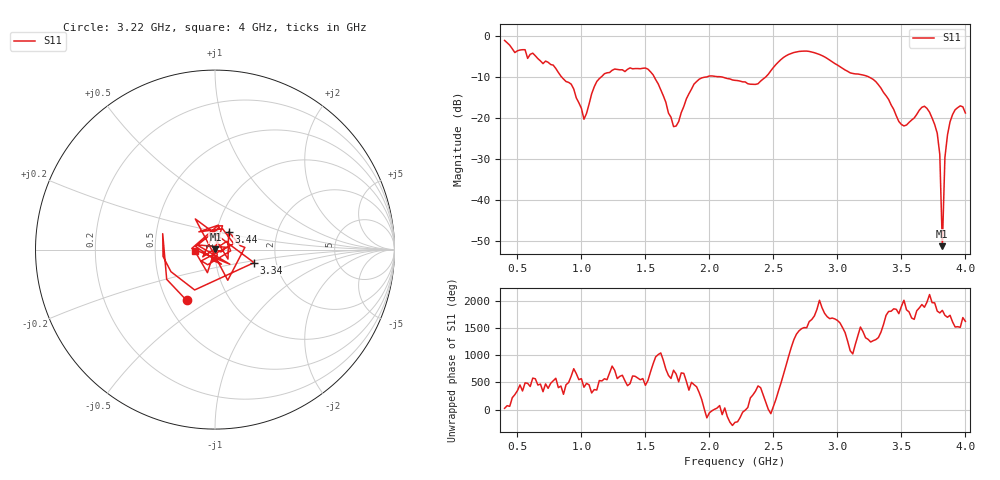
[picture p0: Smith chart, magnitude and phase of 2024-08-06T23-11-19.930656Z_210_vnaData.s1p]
!Created with skrf (http://scikit-rf.org).
# Hz S RI R 50.0
!freq ReS11 ImS11
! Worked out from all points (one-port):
!   181 points, 400 MHz to 4 GHz, reference 50 ohm
!   lowest |S11| = -51.3 dB at 3.82 GHz (marker M1), VSWR 1.01, Z = 50.2 + j0.113 ohm
!   |S11| at or under -10 dB: 1.568 GHz to 1.987 GHz (419.7 MHz wide, 23.6 % of centre); 2.057 GHz to 2.443 GHz (386 MHz wide, 17.2 % of centre); 3.24 GHz to end of sweep (the widest 3 of 4)
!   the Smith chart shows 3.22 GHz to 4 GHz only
!   S11 on the Smith chart (normalised r, x): 3.22 GHz: 0.63, -0.40; 3.34 GHz: 1.53, -0.24; 3.44 GHz: 1.14, +0.23; 4 GHz: 0.80, -0.01
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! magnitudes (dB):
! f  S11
! 400 MHz  -1.2
! 860 MHz  -10.6
! 940 MHz  -13.0
! 1.02 GHz  -20.4
! 1.12 GHz  -11.2
! 1.3 GHz  -8.4
! 1.52 GHz  -8.2
! 1.6 GHz  -11.8
! 1.72 GHz  -22.2
! 1.76 GHz  -21.0
! 1.92 GHz  -10.6
! 2.2 GHz  -10.9
! 2.38 GHz  -11.7
! 2.66 GHz  -4.1
! 3.1 GHz  -9.1
! 3.22 GHz  -9.8
! 3.34 GHz  -12.8
! 3.44 GHz  -18.0
! 3.5 GHz  -21.7
! 3.56 GHz  -21.2
! 3.68 GHz  -17.2
! 3.78 GHz  -23.8
! 3.8 GHz  -29.0
! 3.82 GHz  -51.3
! 3.84 GHz  -29.7
! 3.86 GHz  -24.2
! 3.92 GHz  -18.1
! 4 GHz  -18.9
